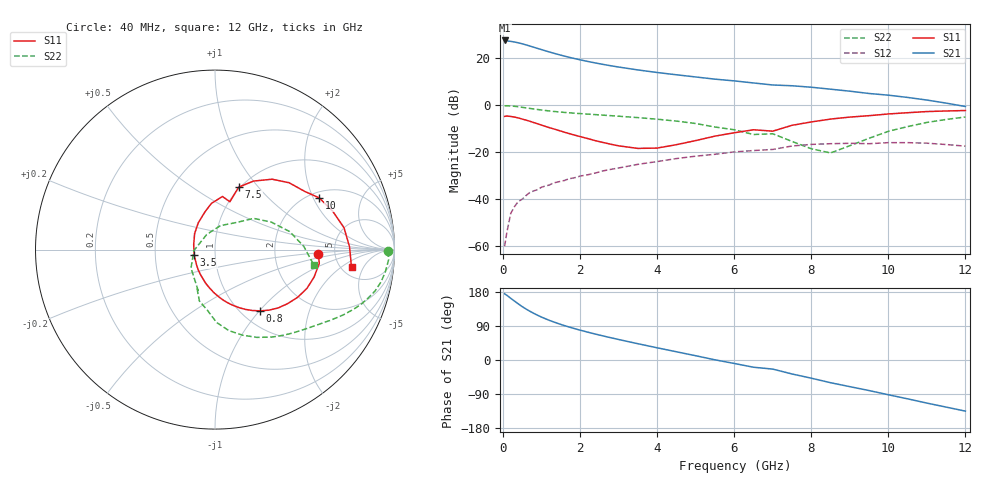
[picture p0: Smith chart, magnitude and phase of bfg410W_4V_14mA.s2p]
! Filename: 414bfg410.001
! BFG410W Field B1
! V1=8.643E-001V,V2=4.000E+000V, I1=2.013E-004A, I2=1.399E-002A
# GHz  S  MA  R 50
!  S11  S21  S12  S22
!Freq(GHz)  Mag  Ang  Mag  Ang  Mag  Ang  Mag  Ang
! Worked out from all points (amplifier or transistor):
!   44 points, 40 MHz to 12 GHz, reference 50 ohm
!   highest |S21| = 27.5 dB at 40 MHz (marker M1)
!   |S21| within 3 dB of that: start of sweep to 819.7 MHz
!   unconditionally stable (mu >= 1): start of sweep to 55.65 MHz; 1.708 GHz to end of sweep
!   at 700 MHz: K = 0.59, MSG = 31.1 dB, |S12| = -37.1 dB
!   at 2.4 GHz: K = 1.15, MAG = 21.0 dB, |S12| = -28.9 dB
!   at 12 GHz: K = 1.49, MAG = 4.3 dB, |S12| = -17.5 dB
!   S11 on the Smith chart (normalised r, x): 40 MHz: 3.70, -0.27; 800 MHz: 1.21, -1.01; 3.5 GHz: 0.79, -0.05; 7.5 GHz: 0.99, +0.80; 10 GHz: 2.24, +2.22; 12 GHz: 6.12, -2.96
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0.04  0.576 -2.4  23.7 174.8  0.001 52.1  0.965 -0.6
0.2  0.573 -15.4  22.66 162.7  0.005 79.1  0.957 -7.5
0.3  0.556 -22.9  21.95 155.2  0.007 77.0  0.942 -11.1
0.4  0.532 -29.9  21.08 147.7  0.009 74.2  0.921 -14.5
0.5  0.504 -36.8  20.1 140.6  0.01 71.2  0.896 -17.4
0.6  0.479 -42.7  19.05 134.2  0.012 69.7  0.873 -20.1
0.8  0.424 -53.6  16.98 122.9  0.015 66.2  0.826 -24.6
1  0.375 -62.8  15.11 113.1  0.018 64.1  0.786 -28.4
1.1  0.353 -66.9  14.28 108.8  0.019 63.2  0.768 -30.1
1.4  0.297 -78.1  12.14 97.3  0.023 61.3  0.723 -34.6
1.8  0.237 -92.2  10.01 84.5  0.028 59.3  0.679 -40.1
2.2  0.194 -105.7  8.479 73.4  0.033 57.1  0.643 -45.6
2.8  0.147 -129.1  6.861 58.7  0.043 52.9  0.596 -54.1
3.5  0.12 -164.9  5.597 42.9  0.055 46.4  0.542 -64.5
4.5  0.144 142.2  4.413 21.7  0.073 34.3  0.457 -80.4
5.5  0.219 104.4  3.564 0.5  0.09 19.3  0.342 -96.9
6.5  0.299 82.0  2.958 -19.1  0.108 5.3  0.237 -115.1
7.5  0.372 69.2  2.579 -36.9  0.135 -5.6  0.169 -142.3
8.5  0.505 50.9  2.18 -59.9  0.151 -28.7  0.096 118.8
10  0.648 26.4  1.626 -91.7  0.159 -58.8  0.277 38.9
10.5  0.689 18.2  1.456 -102.5  0.159 -69.4  0.349 26.0
12  0.767 -7.5  0.933 -134.9  0.134 -107.7  0.559 -9.1
